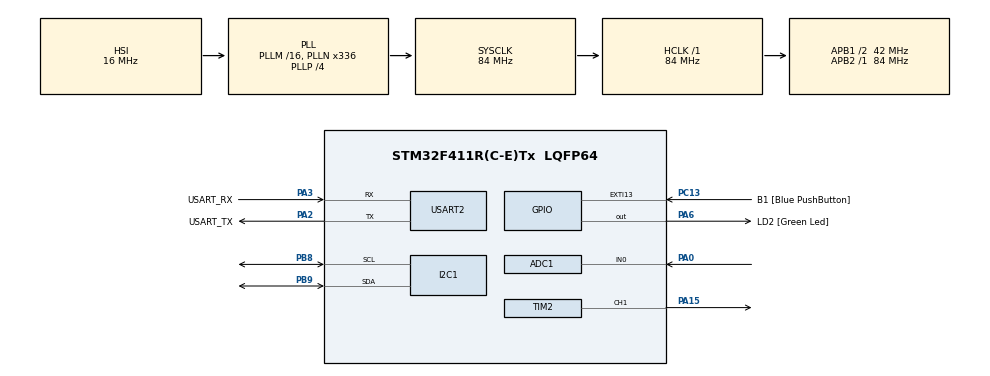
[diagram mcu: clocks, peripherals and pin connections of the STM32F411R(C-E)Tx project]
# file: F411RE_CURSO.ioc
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ADC1.Channel-0\#ChannelRegularConversion=ADC_CHANNEL_0
ADC1.ContinuousConvMode=ENABLE
ADC1.NbrOfConversionFlag=1
ADC1.Rank-0\#ChannelRegularConversion=1
ADC1.SamplingTime-0\#ChannelRegularConversion=ADC_SAMPLETIME_3CYCLES
ADC1.master=1
Mcu.Family=STM32F4
Mcu.Name=STM32F411R(C-E)Tx
Mcu.Package=LQFP64
NVIC.EXTI15_10_IRQn=true\:0\:0\:false\:false\:true\:true\:true\:true
NVIC.PriorityGroup=NVIC_PRIORITYGROUP_0
NVIC.TIM2_IRQn=true\:0\:0\:false\:false\:true\:true\:true\:true
PA0-WKUP.Signal=ADCx_IN0
PA13.GPIO_Label=TMS
PA13.Mode=Serial_Wire
PA13.Signal=SYS_JTMS-SWDIO
PA14.GPIO_Label=TCK
PA14.Mode=Serial_Wire
PA14.Signal=SYS_JTCK-SWCLK
PA15.Signal=S_TIM2_CH1_ETR
PA2.GPIO_Label=USART_TX
PA2.Mode=Asynchronous
PA2.Signal=USART2_TX
PA3.GPIO_Label=USART_RX
PA3.Mode=Asynchronous
PA3.Signal=USART2_RX
PA6.GPIO_Label=LD2 [Green Led]
PA6.Signal=GPIO_Output
PB8.Mode=I2C
PB8.Signal=I2C1_SCL
PB9.Mode=I2C
PB9.Signal=I2C1_SDA
PC13-ANTI_TAMP.GPIO_Label=B1 [Blue PushButton]
PC13-ANTI_TAMP.GPIO_ModeDefaultEXTI=GPIO_MODE_IT_FALLING
PC13-ANTI_TAMP.Signal=GPXTI13
PC14-OSC32_IN.Mode=LSE-External-Oscillator
PC14-OSC32_IN.Signal=RCC_OSC32_IN
PC15-OSC32_OUT.Mode=LSE-External-Oscillator
PC15-OSC32_OUT.Signal=RCC_OSC32_OUT
PH0\ -\ OSC_IN.Mode=HSE-External-Clock-Source
PH0\ -\ OSC_IN.Signal=RCC_OSC_IN
PH1\ -\ OSC_OUT.Mode=HSE-External-Clock-Source
PH1\ -\ OSC_OUT.Signal=RCC_OSC_OUT
ProjectManager.HeapSize=0x200
ProjectManager.StackSize=0x400
ProjectManager.TargetToolchain=STM32CubeIDE
RCC.48MHZClocksFreq_Value=84000000
RCC.AHBFreq_Value=84000000
RCC.APB1CLKDivider=RCC_HCLK_DIV2
RCC.APB1Freq_Value=42000000
RCC.APB1TimFreq_Value=84000000
RCC.APB2Freq_Value=84000000
RCC.APB2TimFreq_Value=84000000
RCC.CortexFreq_Value=84000000
RCC.FLatency-AdvancedSettings=FLASH_LATENCY_2
RCC.HCLKFreq_Value=84000000
RCC.HSE_VALUE=8000000
RCC.HSI_VALUE=16000000
RCC.PLLN=336
RCC.PLLP=RCC_PLLP_DIV4
RCC.SYSCLKFreq_VALUE=84000000
RCC.SYSCLKSource=RCC_SYSCLKSOURCE_PLLCLK
RCC.VCOOutputFreq_Value=336000000
SH.ADCx_IN0.0=ADC1_IN0,IN0
SH.S_TIM2_CH1_ETR.0=TIM2_CH1,PWM Generation1 CH1
TIM2.AutoReloadPreload=TIM_AUTORELOAD_PRELOAD_ENABLE
TIM2.Channel-PWM\ Generation1\ CH1=TIM_CHANNEL_1
TIM2.Period=2000-1
TIM2.Prescaler=840-1
USART2.VirtualMode=VM_ASYNC
VP_TIM2_VS_ClockSourceINT.Mode=Internal
board=NUCLEO-F411RE

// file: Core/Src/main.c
/* USER CODE BEGIN Header */
/**
  ******************************************************************************
  * @file           : main.c
  * @brief          : Main program body
  ******************************************************************************
  * @attention
  *
  * Copyright (c) 2022 STMicroelectronics.
  * All rights reserved.
  *
  * This software is licensed under terms that can be found in the LICENSE file
  * in the root directory of this software component.
  * If no LICENSE file comes with this software, it is provided AS-IS.
  *
  ******************************************************************************
  */
/* USER CODE END Header */
#include "main.h"

/* USER CODE BEGIN Includes */
#include <stdio.h>
#include <string.h>
/* USER CODE END Includes */

ADC_HandleTypeDef hadc1;

I2C_HandleTypeDef hi2c1;

TIM_HandleTypeDef htim2;

UART_HandleTypeDef huart2;

/* USER CODE BEGIN PV */
char msg[20];
uint16_t adc_value;

/* USER CODE END PV */

void SystemClock_Config(void);
static void MX_GPIO_Init(void);
static void MX_USART2_UART_Init(void);
static void MX_TIM2_Init(void);
static void MX_I2C1_Init(void);
static void MX_ADC1_Init(void);
/* USER CODE BEGIN PFP */
uint32_t map(uint32_t IN, uint32_t INmin, uint32_t INmax, uint32_t OUTmin, uint32_t OUTmax);

/* USER CODE END PFP */

int main(void)
{

  /* MCU Configuration--------------------------------------------------------*/

  /* Reset of all peripherals, Initializes the Flash interface and the Systick. */
  HAL_Init();

  /* Configure the system clock */
  SystemClock_Config();

  /* Initialize all configured peripherals */
  MX_GPIO_Init();
  MX_USART2_UART_Init();
  MX_TIM2_Init();
  MX_I2C1_Init();
  MX_ADC1_Init();
  /* USER CODE BEGIN 2 */
  sprintf(msg, "HOLA MUNDO\r\n");
  HAL_TIM_PWM_Start(&htim2, TIM_CHANNEL_1);
  /* USER CODE END 2 */

  /* Infinite loop */
  /* USER CODE BEGIN WHILE */
  while (1)
  {
//	  HAL_GPIO_TogglePin(LD2_GPIO_Port, LD2_Pin);
	  //HAL_UART_Transmit(&huart2, (uint8_t *)msg, strlen(msg), HAL_MAX_DELAY);
	  //HAL_Delay(1000);

	  HAL_ADC_Start(&hadc1);
	  while(HAL_ADC_PollForConversion(&hadc1, 100) !=  HAL_OK);
	  adc_value = HAL_ADC_GetValue(&hadc1);
//	  adc_value = 3.3*adc_value/4096;
	  __HAL_TIM_SET_COMPARE(&htim2, TIM_CHANNEL_1, map(adc_value, 0, 4095, 99, 199));
	  HAL_Delay(10);

    /* USER CODE END WHILE */

  }
}

void SystemClock_Config(void)
{
  RCC_OscInitTypeDef RCC_OscInitStruct = {0};
  RCC_ClkInitTypeDef RCC_ClkInitStruct = {0};

  /** Configure the main internal regulator output voltage
  */
  __HAL_RCC_PWR_CLK_ENABLE();
  __HAL_PWR_VOLTAGESCALING_CONFIG(PWR_REGULATOR_VOLTAGE_SCALE1);

  /** Initializes the RCC Oscillators according to the specified parameters
  * in the RCC_OscInitTypeDef structure.
  */
  RCC_OscInitStruct.OscillatorType = RCC_OSCILLATORTYPE_HSI;
  RCC_OscInitStruct.HSIState = RCC_HSI_ON;
  RCC_OscInitStruct.HSICalibrationValue = RCC_HSICALIBRATION_DEFAULT;
  RCC_OscInitStruct.PLL.PLLState = RCC_PLL_ON;
  RCC_OscInitStruct.PLL.PLLSource = RCC_PLLSOURCE_HSI;
  RCC_OscInitStruct.PLL.PLLM = 16;
  RCC_OscInitStruct.PLL.PLLN = 336;
  RCC_OscInitStruct.PLL.PLLP = RCC_PLLP_DIV4;
  RCC_OscInitStruct.PLL.PLLQ = 4;
  if (HAL_RCC_OscConfig(&RCC_OscInitStruct) != HAL_OK)
  {
    Error_Handler();
  }

  /** Initializes the CPU, AHB and APB buses clocks
  */
  RCC_ClkInitStruct.ClockType = RCC_CLOCKTYPE_HCLK|RCC_CLOCKTYPE_SYSCLK
                              |RCC_CLOCKTYPE_PCLK1|RCC_CLOCKTYPE_PCLK2;
  RCC_ClkInitStruct.SYSCLKSource = RCC_SYSCLKSOURCE_PLLCLK;
  RCC_ClkInitStruct.AHBCLKDivider = RCC_SYSCLK_DIV1;
  RCC_ClkInitStruct.APB1CLKDivider = RCC_HCLK_DIV2;
  RCC_ClkInitStruct.APB2CLKDivider = RCC_HCLK_DIV1;

  if (HAL_RCC_ClockConfig(&RCC_ClkInitStruct, FLASH_LATENCY_2) != HAL_OK)
  {
    Error_Handler();
  }
}

static void MX_ADC1_Init(void)
{

  ADC_ChannelConfTypeDef sConfig = {0};

  /** Configure the global features of the ADC (Clock, Resolution, Data Alignment and number of conversion)
  */
  hadc1.Instance = ADC1;
  hadc1.Init.ClockPrescaler = ADC_CLOCK_SYNC_PCLK_DIV4;
  hadc1.Init.Resolution = ADC_RESOLUTION_12B;
  hadc1.Init.ScanConvMode = DISABLE;
  hadc1.Init.ContinuousConvMode = ENABLE;
  hadc1.Init.DiscontinuousConvMode = DISABLE;
  hadc1.Init.ExternalTrigConvEdge = ADC_EXTERNALTRIGCONVEDGE_NONE;
  hadc1.Init.ExternalTrigConv = ADC_SOFTWARE_START;
  hadc1.Init.DataAlign = ADC_DATAALIGN_RIGHT;
  hadc1.Init.NbrOfConversion = 1;
  hadc1.Init.DMAContinuousRequests = DISABLE;
  hadc1.Init.EOCSelection = ADC_EOC_SINGLE_CONV;
  if (HAL_ADC_Init(&hadc1) != HAL_OK)
  {
    Error_Handler();
  }

  /** Configure for the selected ADC regular channel its corresponding rank in the sequencer and its sample time.
  */
  sConfig.Channel = ADC_CHANNEL_0;
  sConfig.Rank = 1;
  sConfig.SamplingTime = ADC_SAMPLETIME_3CYCLES;
  if (HAL_ADC_ConfigChannel(&hadc1, &sConfig) != HAL_OK)
  {
    Error_Handler();
  }

}

static void MX_I2C1_Init(void)
{

  hi2c1.Instance = I2C1;
  hi2c1.Init.ClockSpeed = 100000;
  hi2c1.Init.DutyCycle = I2C_DUTYCYCLE_2;
  hi2c1.Init.OwnAddress1 = 0;
  hi2c1.Init.AddressingMode = I2C_ADDRESSINGMODE_7BIT;
  hi2c1.Init.DualAddressMode = I2C_DUALADDRESS_DISABLE;
  hi2c1.Init.OwnAddress2 = 0;
  hi2c1.Init.GeneralCallMode = I2C_GENERALCALL_DISABLE;
  hi2c1.Init.NoStretchMode = I2C_NOSTRETCH_DISABLE;
  if (HAL_I2C_Init(&hi2c1) != HAL_OK)
  {
    Error_Handler();
  }

}

static void MX_TIM2_Init(void)
{

  TIM_ClockConfigTypeDef sClockSourceConfig = {0};
  TIM_MasterConfigTypeDef sMasterConfig = {0};
  TIM_OC_InitTypeDef sConfigOC = {0};

  htim2.Instance = TIM2;
  htim2.Init.Prescaler = 840-1;
  htim2.Init.CounterMode = TIM_COUNTERMODE_UP;
  htim2.Init.Period = 2000-1;
  htim2.Init.ClockDivision = TIM_CLOCKDIVISION_DIV1;
  htim2.Init.AutoReloadPreload = TIM_AUTORELOAD_PRELOAD_ENABLE;
  if (HAL_TIM_Base_Init(&htim2) != HAL_OK)
  {
    Error_Handler();
  }
  sClockSourceConfig.ClockSource = TIM_CLOCKSOURCE_INTERNAL;
  if (HAL_TIM_ConfigClockSource(&htim2, &sClockSourceConfig) != HAL_OK)
  {
    Error_Handler();
  }
  if (HAL_TIM_PWM_Init(&htim2) != HAL_OK)
  {
    Error_Handler();
  }
  sMasterConfig.MasterOutputTrigger = TIM_TRGO_RESET;
  sMasterConfig.MasterSlaveMode = TIM_MASTERSLAVEMODE_DISABLE;
  if (HAL_TIMEx_MasterConfigSynchronization(&htim2, &sMasterConfig) != HAL_OK)
  {
    Error_Handler();
  }
  sConfigOC.OCMode = TIM_OCMODE_PWM1;
  sConfigOC.Pulse = 0;
  sConfigOC.OCPolarity = TIM_OCPOLARITY_HIGH;
  sConfigOC.OCFastMode = TIM_OCFAST_DISABLE;
  if (HAL_TIM_PWM_ConfigChannel(&htim2, &sConfigOC, TIM_CHANNEL_1) != HAL_OK)
  {
    Error_Handler();
  }
  HAL_TIM_MspPostInit(&htim2);

}

static void MX_USART2_UART_Init(void)
{

  huart2.Instance = USART2;
  huart2.Init.BaudRate = 115200;
  huart2.Init.WordLength = UART_WORDLENGTH_8B;
  huart2.Init.StopBits = UART_STOPBITS_1;
  huart2.Init.Parity = UART_PARITY_NONE;
  huart2.Init.Mode = UART_MODE_TX_RX;
  huart2.Init.HwFlowCtl = UART_HWCONTROL_NONE;
  huart2.Init.OverSampling = UART_OVERSAMPLING_16;
  if (HAL_UART_Init(&huart2) != HAL_OK)
  {
    Error_Handler();
  }

}

static void MX_GPIO_Init(void)
{
  GPIO_InitTypeDef GPIO_InitStruct = {0};

  /* GPIO Ports Clock Enable */
  __HAL_RCC_GPIOC_CLK_ENABLE();
  __HAL_RCC_GPIOH_CLK_ENABLE();
  __HAL_RCC_GPIOA_CLK_ENABLE();
  __HAL_RCC_GPIOB_CLK_ENABLE();

  /*Configure GPIO pin Output Level */
  HAL_GPIO_WritePin(LD2_GPIO_Port, LD2_Pin, GPIO_PIN_RESET);

  /*Configure GPIO pin : B1_Pin */
  GPIO_InitStruct.Pin = B1_Pin;
  GPIO_InitStruct.Mode = GPIO_MODE_IT_FALLING;
  GPIO_InitStruct.Pull = GPIO_NOPULL;
  HAL_GPIO_Init(B1_GPIO_Port, &GPIO_InitStruct);

  /*Configure GPIO pin : LD2_Pin */
  GPIO_InitStruct.Pin = LD2_Pin;
  GPIO_InitStruct.Mode = GPIO_MODE_OUTPUT_PP;
  GPIO_InitStruct.Pull = GPIO_NOPULL;
  GPIO_InitStruct.Speed = GPIO_SPEED_FREQ_LOW;
  HAL_GPIO_Init(LD2_GPIO_Port, &GPIO_InitStruct);

  /* EXTI interrupt init*/
  HAL_NVIC_SetPriority(EXTI15_10_IRQn, 0, 0);
  HAL_NVIC_EnableIRQ(EXTI15_10_IRQn);

}

/* USER CODE BEGIN 4 */
void HAL_GPIO_EXTI_Callback(uint16_t GPIO_Pin)
{
//	if(GPIO_Pin == B1_Pin)
//	{
//		HAL_GPIO_TogglePin(LD2_GPIO_Port, LD2_Pin);
//	}
	if(GPIO_Pin == B1_Pin)
	{
		HAL_TIM_Base_Start_IT(&htim2);
		HAL_NVIC_DisableIRQ(EXTI15_10_IRQn);
	}
}

void HAL_TIM_PeriodElapsedCallback(TIM_HandleTypeDef *htim)
{
	HAL_TIM_Base_Stop_IT(&htim2);
	HAL_GPIO_TogglePin(LD2_GPIO_Port, LD2_Pin);
	HAL_NVIC_EnableIRQ(EXTI15_10_IRQn);
}

uint32_t map(uint32_t IN, uint32_t INmin, uint32_t INmax, uint32_t OUTmin, uint32_t OUTmax)
{
    return ((((IN - INmin)*(OUTmax - OUTmin))/(INmax - INmin)) + OUTmin);
}
/* USER CODE END 4 */

void Error_Handler(void)
{
  __disable_irq();
  while (1)
  {
  }
}
